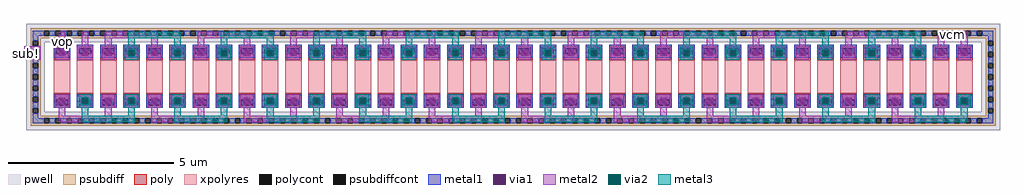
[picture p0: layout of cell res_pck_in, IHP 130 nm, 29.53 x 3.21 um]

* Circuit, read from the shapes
.subckt res_pck_in sub! vcm vom vop
XR1 vop rhigh_LVHKJT_0/R2 xpolyres w=0.5u l=1u
XR2 vom rhigh_LVHKJT_1/R2 xpolyres w=0.5u l=1u
XR3 rhigh_LVHKJT_2/R1 rhigh_LVHKJT_0/R2 xpolyres w=0.5u l=1u
XR4 rhigh_LVHKJT_3/R1 rhigh_LVHKJT_1/R2 xpolyres w=0.5u l=1u
XR5 rhigh_LVHKJT_2/R1 rhigh_LVHKJT_5/R2 xpolyres w=0.5u l=1u
XR6 rhigh_LVHKJT_3/R1 rhigh_LVHKJT_4/R2 xpolyres w=0.5u l=1u
XR7 rhigh_LVHKJT_11/R1 rhigh_LVHKJT_5/R2 xpolyres w=0.5u l=1u
XR8 rhigh_LVHKJT_10/R1 rhigh_LVHKJT_4/R2 xpolyres w=0.5u l=1u
XR9 rhigh_LVHKJT_11/R1 rhigh_LVHKJT_11/R2 xpolyres w=0.5u l=1u
XR10 rhigh_LVHKJT_10/R1 rhigh_LVHKJT_10/R2 xpolyres w=0.5u l=1u
XR11 rhigh_LVHKJT_13/R1 rhigh_LVHKJT_11/R2 xpolyres w=0.5u l=1u
XR12 rhigh_LVHKJT_12/R1 rhigh_LVHKJT_10/R2 xpolyres w=0.5u l=1u
XR13 rhigh_LVHKJT_13/R1 rhigh_LVHKJT_13/R2 xpolyres w=0.5u l=1u
XR14 rhigh_LVHKJT_12/R1 rhigh_LVHKJT_12/R2 xpolyres w=0.5u l=1u
XR15 rhigh_LVHKJT_21/R1 rhigh_LVHKJT_13/R2 xpolyres w=0.5u l=1u
XR16 rhigh_LVHKJT_20/R1 rhigh_LVHKJT_12/R2 xpolyres w=0.5u l=1u
XR17 rhigh_LVHKJT_21/R1 rhigh_LVHKJT_19/R2 xpolyres w=0.5u l=1u
XR18 rhigh_LVHKJT_20/R1 rhigh_LVHKJT_18/R2 xpolyres w=0.5u l=1u
XR19 rhigh_LVHKJT_17/R1 rhigh_LVHKJT_19/R2 xpolyres w=0.5u l=1u
XR20 rhigh_LVHKJT_16/R1 rhigh_LVHKJT_18/R2 xpolyres w=0.5u l=1u
XR21 rhigh_LVHKJT_17/R1 rhigh_LVHKJT_15/R2 xpolyres w=0.5u l=1u
XR22 rhigh_LVHKJT_16/R1 rhigh_LVHKJT_14/R2 xpolyres w=0.5u l=1u
XR23 rhigh_LVHKJT_15/R1 rhigh_LVHKJT_15/R2 xpolyres w=0.5u l=1u
XR24 rhigh_LVHKJT_14/R1 rhigh_LVHKJT_14/R2 xpolyres w=0.5u l=1u
XR25 rhigh_LVHKJT_15/R1 rhigh_LVHKJT_32/R2 xpolyres w=0.5u l=1u
XR26 rhigh_LVHKJT_14/R1 rhigh_LVHKJT_33/R2 xpolyres w=0.5u l=1u
XR27 rhigh_LVHKJT_30/R1 rhigh_LVHKJT_32/R2 xpolyres w=0.5u l=1u
XR28 rhigh_LVHKJT_31/R1 rhigh_LVHKJT_33/R2 xpolyres w=0.5u l=1u
XR29 rhigh_LVHKJT_30/R1 rhigh_LVHKJT_28/R2 xpolyres w=0.5u l=1u
XR30 rhigh_LVHKJT_31/R1 rhigh_LVHKJT_29/R2 xpolyres w=0.5u l=1u
XR31 rhigh_LVHKJT_26/R1 rhigh_LVHKJT_28/R2 xpolyres w=0.5u l=1u
XR32 rhigh_LVHKJT_27/R1 rhigh_LVHKJT_29/R2 xpolyres w=0.5u l=1u
XR33 rhigh_LVHKJT_26/R1 rhigh_LVHKJT_24/R2 xpolyres w=0.5u l=1u
XR34 rhigh_LVHKJT_27/R1 rhigh_LVHKJT_25/R2 xpolyres w=0.5u l=1u
XR35 rhigh_LVHKJT_24/R1 rhigh_LVHKJT_24/R2 xpolyres w=0.5u l=1u
XR36 rhigh_LVHKJT_25/R1 rhigh_LVHKJT_25/R2 xpolyres w=0.5u l=1u
XR37 rhigh_LVHKJT_24/R1 rhigh_LVHKJT_36/R2 xpolyres w=0.5u l=1u
XR38 rhigh_LVHKJT_25/R1 rhigh_LVHKJT_37/R2 xpolyres w=0.5u l=1u
XR39 vcm rhigh_LVHKJT_36/R2 xpolyres w=0.5u l=1u
XR40 vcm rhigh_LVHKJT_37/R2 xpolyres w=0.5u l=1u
.ends

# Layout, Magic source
magic
tech ihp-sg13g2
magscale 1 2
<< pwell >>
rect -166 394 5726 506
rect -166 -24 -54 394
rect 5614 -24 5726 394
rect -166 -136 5726 -24
<< psubdiff >>
rect -140 466 5700 480
rect -140 434 -58 466
rect -26 434 10 466
rect 42 434 78 466
rect 110 434 146 466
rect 178 434 214 466
rect 246 434 282 466
rect 314 434 350 466
rect 382 434 418 466
rect 450 434 486 466
rect 518 434 554 466
rect 586 434 622 466
rect 654 434 690 466
rect 722 434 758 466
rect 790 434 826 466
rect 858 434 894 466
rect 926 434 962 466
rect 994 434 1030 466
rect 1062 434 1098 466
rect 1130 434 1166 466
rect 1198 434 1234 466
rect 1266 434 1302 466
rect 1334 434 1370 466
rect 1402 434 1438 466
rect 1470 434 1506 466
rect 1538 434 1574 466
rect 1606 434 1642 466
rect 1674 434 1710 466
rect 1742 434 1778 466
rect 1810 434 1846 466
rect 1878 434 1914 466
rect 1946 434 1982 466
rect 2014 434 2050 466
rect 2082 434 2118 466
rect 2150 434 2186 466
rect 2218 434 2254 466
rect 2286 434 2322 466
rect 2354 434 2390 466
rect 2422 434 2458 466
rect 2490 434 2526 466
rect 2558 434 2594 466
rect 2626 434 2662 466
rect 2694 434 2730 466
rect 2762 434 2798 466
rect 2830 434 2866 466
rect 2898 434 2934 466
rect 2966 434 3002 466
rect 3034 434 3070 466
rect 3102 434 3138 466
rect 3170 434 3206 466
rect 3238 434 3274 466
rect 3306 434 3342 466
rect 3374 434 3410 466
rect 3442 434 3478 466
rect 3510 434 3546 466
rect 3578 434 3614 466
rect 3646 434 3682 466
rect 3714 434 3750 466
rect 3782 434 3818 466
rect 3850 434 3886 466
rect 3918 434 3954 466
rect 3986 434 4022 466
rect 4054 434 4090 466
rect 4122 434 4158 466
rect 4190 434 4226 466
rect 4258 434 4294 466
rect 4326 434 4362 466
rect 4394 434 4430 466
rect 4462 434 4498 466
rect 4530 434 4566 466
rect 4598 434 4634 466
rect 4666 434 4702 466
rect 4734 434 4770 466
rect 4802 434 4838 466
rect 4870 434 4906 466
rect 4938 434 4974 466
rect 5006 434 5042 466
rect 5074 434 5110 466
rect 5142 434 5178 466
rect 5210 434 5246 466
rect 5278 434 5314 466
rect 5346 434 5382 466
rect 5414 434 5450 466
rect 5482 434 5518 466
rect 5550 434 5586 466
rect 5618 434 5700 466
rect -140 420 5700 434
rect -140 405 -80 420
rect -140 373 -126 405
rect -94 373 -80 405
rect -140 337 -80 373
rect -140 305 -126 337
rect -94 305 -80 337
rect -140 269 -80 305
rect -140 237 -126 269
rect -94 237 -80 269
rect -140 201 -80 237
rect -140 169 -126 201
rect -94 169 -80 201
rect -140 133 -80 169
rect -140 101 -126 133
rect -94 101 -80 133
rect -140 65 -80 101
rect -140 33 -126 65
rect -94 33 -80 65
rect -140 -3 -80 33
rect -140 -35 -126 -3
rect -94 -35 -80 -3
rect -140 -50 -80 -35
rect 5640 405 5700 420
rect 5640 373 5654 405
rect 5686 373 5700 405
rect 5640 337 5700 373
rect 5640 305 5654 337
rect 5686 305 5700 337
rect 5640 269 5700 305
rect 5640 237 5654 269
rect 5686 237 5700 269
rect 5640 201 5700 237
rect 5640 169 5654 201
rect 5686 169 5700 201
rect 5640 133 5700 169
rect 5640 101 5654 133
rect 5686 101 5700 133
rect 5640 65 5700 101
rect 5640 33 5654 65
rect 5686 33 5700 65
rect 5640 -3 5700 33
rect 5640 -35 5654 -3
rect 5686 -35 5700 -3
rect 5640 -50 5700 -35
rect -140 -64 5700 -50
rect -140 -96 -58 -64
rect -26 -96 10 -64
rect 42 -96 78 -64
rect 110 -96 146 -64
rect 178 -96 214 -64
rect 246 -96 282 -64
rect 314 -96 350 -64
rect 382 -96 418 -64
rect 450 -96 486 -64
rect 518 -96 554 -64
rect 586 -96 622 -64
rect 654 -96 690 -64
rect 722 -96 758 -64
rect 790 -96 826 -64
rect 858 -96 894 -64
rect 926 -96 962 -64
rect 994 -96 1030 -64
rect 1062 -96 1098 -64
rect 1130 -96 1166 -64
rect 1198 -96 1234 -64
rect 1266 -96 1302 -64
rect 1334 -96 1370 -64
rect 1402 -96 1438 -64
rect 1470 -96 1506 -64
rect 1538 -96 1574 -64
rect 1606 -96 1642 -64
rect 1674 -96 1710 -64
rect 1742 -96 1778 -64
rect 1810 -96 1846 -64
rect 1878 -96 1914 -64
rect 1946 -96 1982 -64
rect 2014 -96 2050 -64
rect 2082 -96 2118 -64
rect 2150 -96 2186 -64
rect 2218 -96 2254 -64
rect 2286 -96 2322 -64
rect 2354 -96 2390 -64
rect 2422 -96 2458 -64
rect 2490 -96 2526 -64
rect 2558 -96 2594 -64
rect 2626 -96 2662 -64
rect 2694 -96 2730 -64
rect 2762 -96 2798 -64
rect 2830 -96 2866 -64
rect 2898 -96 2934 -64
rect 2966 -96 3002 -64
rect 3034 -96 3070 -64
rect 3102 -96 3138 -64
rect 3170 -96 3206 -64
rect 3238 -96 3274 -64
rect 3306 -96 3342 -64
rect 3374 -96 3410 -64
rect 3442 -96 3478 -64
rect 3510 -96 3546 -64
rect 3578 -96 3614 -64
rect 3646 -96 3682 -64
rect 3714 -96 3750 -64
rect 3782 -96 3818 -64
rect 3850 -96 3886 -64
rect 3918 -96 3954 -64
rect 3986 -96 4022 -64
rect 4054 -96 4090 -64
rect 4122 -96 4158 -64
rect 4190 -96 4226 -64
rect 4258 -96 4294 -64
rect 4326 -96 4362 -64
rect 4394 -96 4430 -64
rect 4462 -96 4498 -64
rect 4530 -96 4566 -64
rect 4598 -96 4634 -64
rect 4666 -96 4702 -64
rect 4734 -96 4770 -64
rect 4802 -96 4838 -64
rect 4870 -96 4906 -64
rect 4938 -96 4974 -64
rect 5006 -96 5042 -64
rect 5074 -96 5110 -64
rect 5142 -96 5178 -64
rect 5210 -96 5246 -64
rect 5278 -96 5314 -64
rect 5346 -96 5382 -64
rect 5414 -96 5450 -64
rect 5482 -96 5518 -64
rect 5550 -96 5586 -64
rect 5618 -96 5700 -64
rect -140 -110 5700 -96
<< psubdiffcont >>
rect -58 434 -26 466
rect 10 434 42 466
rect 78 434 110 466
rect 146 434 178 466
rect 214 434 246 466
rect 282 434 314 466
rect 350 434 382 466
rect 418 434 450 466
rect 486 434 518 466
rect 554 434 586 466
rect 622 434 654 466
rect 690 434 722 466
rect 758 434 790 466
rect 826 434 858 466
rect 894 434 926 466
rect 962 434 994 466
rect 1030 434 1062 466
rect 1098 434 1130 466
rect 1166 434 1198 466
rect 1234 434 1266 466
rect 1302 434 1334 466
rect 1370 434 1402 466
rect 1438 434 1470 466
rect 1506 434 1538 466
rect 1574 434 1606 466
rect 1642 434 1674 466
rect 1710 434 1742 466
rect 1778 434 1810 466
rect 1846 434 1878 466
rect 1914 434 1946 466
rect 1982 434 2014 466
rect 2050 434 2082 466
rect 2118 434 2150 466
rect 2186 434 2218 466
rect 2254 434 2286 466
rect 2322 434 2354 466
rect 2390 434 2422 466
rect 2458 434 2490 466
rect 2526 434 2558 466
rect 2594 434 2626 466
rect 2662 434 2694 466
rect 2730 434 2762 466
rect 2798 434 2830 466
rect 2866 434 2898 466
rect 2934 434 2966 466
rect 3002 434 3034 466
rect 3070 434 3102 466
rect 3138 434 3170 466
rect 3206 434 3238 466
rect 3274 434 3306 466
rect 3342 434 3374 466
rect 3410 434 3442 466
rect 3478 434 3510 466
rect 3546 434 3578 466
rect 3614 434 3646 466
rect 3682 434 3714 466
rect 3750 434 3782 466
rect 3818 434 3850 466
rect 3886 434 3918 466
rect 3954 434 3986 466
rect 4022 434 4054 466
rect 4090 434 4122 466
rect 4158 434 4190 466
rect 4226 434 4258 466
rect 4294 434 4326 466
rect 4362 434 4394 466
rect 4430 434 4462 466
rect 4498 434 4530 466
rect 4566 434 4598 466
rect 4634 434 4666 466
rect 4702 434 4734 466
rect 4770 434 4802 466
rect 4838 434 4870 466
rect 4906 434 4938 466
rect 4974 434 5006 466
rect 5042 434 5074 466
rect 5110 434 5142 466
rect 5178 434 5210 466
rect 5246 434 5278 466
rect 5314 434 5346 466
rect 5382 434 5414 466
rect 5450 434 5482 466
rect 5518 434 5550 466
rect 5586 434 5618 466
rect -126 373 -94 405
rect -126 305 -94 337
rect -126 237 -94 269
rect -126 169 -94 201
rect -126 101 -94 133
rect -126 33 -94 65
rect -126 -35 -94 -3
rect 5654 373 5686 405
rect 5654 305 5686 337
rect 5654 237 5686 269
rect 5654 169 5686 201
rect 5654 101 5686 133
rect 5654 33 5686 65
rect 5654 -35 5686 -3
rect -58 -96 -26 -64
rect 10 -96 42 -64
rect 78 -96 110 -64
rect 146 -96 178 -64
rect 214 -96 246 -64
rect 282 -96 314 -64
rect 350 -96 382 -64
rect 418 -96 450 -64
rect 486 -96 518 -64
rect 554 -96 586 -64
rect 622 -96 654 -64
rect 690 -96 722 -64
rect 758 -96 790 -64
rect 826 -96 858 -64
rect 894 -96 926 -64
rect 962 -96 994 -64
rect 1030 -96 1062 -64
rect 1098 -96 1130 -64
rect 1166 -96 1198 -64
rect 1234 -96 1266 -64
rect 1302 -96 1334 -64
rect 1370 -96 1402 -64
rect 1438 -96 1470 -64
rect 1506 -96 1538 -64
rect 1574 -96 1606 -64
rect 1642 -96 1674 -64
rect 1710 -96 1742 -64
rect 1778 -96 1810 -64
rect 1846 -96 1878 -64
rect 1914 -96 1946 -64
rect 1982 -96 2014 -64
rect 2050 -96 2082 -64
rect 2118 -96 2150 -64
rect 2186 -96 2218 -64
rect 2254 -96 2286 -64
rect 2322 -96 2354 -64
rect 2390 -96 2422 -64
rect 2458 -96 2490 -64
rect 2526 -96 2558 -64
rect 2594 -96 2626 -64
rect 2662 -96 2694 -64
rect 2730 -96 2762 -64
rect 2798 -96 2830 -64
rect 2866 -96 2898 -64
rect 2934 -96 2966 -64
rect 3002 -96 3034 -64
rect 3070 -96 3102 -64
rect 3138 -96 3170 -64
rect 3206 -96 3238 -64
rect 3274 -96 3306 -64
rect 3342 -96 3374 -64
rect 3410 -96 3442 -64
rect 3478 -96 3510 -64
rect 3546 -96 3578 -64
rect 3614 -96 3646 -64
rect 3682 -96 3714 -64
rect 3750 -96 3782 -64
rect 3818 -96 3850 -64
rect 3886 -96 3918 -64
rect 3954 -96 3986 -64
rect 4022 -96 4054 -64
rect 4090 -96 4122 -64
rect 4158 -96 4190 -64
rect 4226 -96 4258 -64
rect 4294 -96 4326 -64
rect 4362 -96 4394 -64
rect 4430 -96 4462 -64
rect 4498 -96 4530 -64
rect 4566 -96 4598 -64
rect 4634 -96 4666 -64
rect 4702 -96 4734 -64
rect 4770 -96 4802 -64
rect 4838 -96 4870 -64
rect 4906 -96 4938 -64
rect 4974 -96 5006 -64
rect 5042 -96 5074 -64
rect 5110 -96 5142 -64
rect 5178 -96 5210 -64
rect 5246 -96 5278 -64
rect 5314 -96 5346 -64
rect 5382 -96 5414 -64
rect 5450 -96 5482 -64
rect 5518 -96 5550 -64
rect 5586 -96 5618 -64
<< metal1 >>
rect -126 434 -58 466
rect -26 434 10 466
rect 42 434 78 466
rect 110 434 146 466
rect 178 434 214 466
rect 246 434 282 466
rect 314 434 350 466
rect 382 434 418 466
rect 450 434 486 466
rect 518 434 554 466
rect 586 434 622 466
rect 654 434 690 466
rect 722 434 758 466
rect 790 434 826 466
rect 858 434 894 466
rect 926 434 962 466
rect 994 434 1030 466
rect 1062 434 1098 466
rect 1130 434 1166 466
rect 1198 434 1234 466
rect 1266 434 1302 466
rect 1334 434 1370 466
rect 1402 434 1438 466
rect 1470 434 1506 466
rect 1538 434 1574 466
rect 1606 434 1642 466
rect 1674 434 1710 466
rect 1742 434 1778 466
rect 1810 434 1846 466
rect 1878 434 1914 466
rect 1946 434 1982 466
rect 2014 434 2050 466
rect 2082 434 2118 466
rect 2150 434 2186 466
rect 2218 434 2254 466
rect 2286 434 2322 466
rect 2354 434 2390 466
rect 2422 434 2458 466
rect 2490 434 2526 466
rect 2558 434 2594 466
rect 2626 434 2662 466
rect 2694 434 2730 466
rect 2762 434 2798 466
rect 2830 434 2866 466
rect 2898 434 2934 466
rect 2966 434 3002 466
rect 3034 434 3070 466
rect 3102 434 3138 466
rect 3170 434 3206 466
rect 3238 434 3274 466
rect 3306 434 3342 466
rect 3374 434 3410 466
rect 3442 434 3478 466
rect 3510 434 3546 466
rect 3578 434 3614 466
rect 3646 434 3682 466
rect 3714 434 3750 466
rect 3782 434 3818 466
rect 3850 434 3886 466
rect 3918 434 3954 466
rect 3986 434 4022 466
rect 4054 434 4090 466
rect 4122 434 4158 466
rect 4190 434 4226 466
rect 4258 434 4294 466
rect 4326 434 4362 466
rect 4394 434 4430 466
rect 4462 434 4498 466
rect 4530 434 4566 466
rect 4598 434 4634 466
rect 4666 434 4702 466
rect 4734 434 4770 466
rect 4802 434 4838 466
rect 4870 434 4906 466
rect 4938 434 4974 466
rect 5006 434 5042 466
rect 5074 434 5110 466
rect 5142 434 5178 466
rect 5210 434 5246 466
rect 5278 434 5314 466
rect 5346 434 5382 466
rect 5414 434 5450 466
rect 5482 434 5518 466
rect 5550 434 5586 466
rect 5618 434 5686 466
rect -126 405 -94 434
rect 5654 405 5686 434
rect -126 370 -94 373
rect -140 350 -80 370
rect -140 310 -130 350
rect -90 310 -80 350
rect -140 305 -126 310
rect -94 305 -80 310
rect -140 290 -80 305
rect 0 300 100 380
rect 140 300 240 380
rect 280 300 380 380
rect 420 300 520 380
rect 560 300 660 380
rect 700 300 800 380
rect 840 300 940 380
rect 980 300 1080 380
rect 1120 300 1220 380
rect 1260 300 1360 380
rect 1400 300 1500 380
rect 1540 300 1640 380
rect 1680 300 1780 380
rect 1820 300 1920 380
rect 1960 300 2060 380
rect 2100 300 2200 380
rect 2240 300 2340 380
rect 2380 300 2480 380
rect 2520 300 2620 380
rect 2660 300 2760 380
rect 2800 300 2900 380
rect 2940 300 3040 380
rect 3080 300 3180 380
rect 3220 300 3320 380
rect 3360 300 3460 380
rect 3500 300 3600 380
rect 3640 300 3740 380
rect 3780 300 3880 380
rect 3920 300 4020 380
rect 4060 300 4160 380
rect 4200 300 4300 380
rect 4340 300 4440 380
rect 4480 300 4580 380
rect 4620 300 4720 380
rect 4760 300 4860 380
rect 4900 300 5000 380
rect 5040 300 5140 380
rect 5180 300 5280 380
rect 5320 300 5420 380
rect 5460 300 5560 380
rect 5654 337 5686 373
rect -126 269 -94 290
rect -126 201 -94 237
rect -126 133 -94 169
rect -126 65 -94 101
rect 5654 269 5686 305
rect 5654 201 5686 237
rect 5654 133 5686 169
rect -126 -3 -94 33
rect 0 0 100 80
rect 140 0 240 80
rect 280 0 380 80
rect 420 0 520 80
rect 560 0 660 80
rect 700 0 800 80
rect 840 0 940 80
rect 980 0 1080 80
rect 1120 0 1220 80
rect 1260 0 1360 80
rect 1400 0 1500 80
rect 1540 0 1640 80
rect 1680 0 1780 80
rect 1820 0 1920 80
rect 1960 0 2060 80
rect 2100 0 2200 80
rect 2240 0 2340 80
rect 2380 0 2480 80
rect 2520 0 2620 80
rect 2660 0 2760 80
rect 2800 0 2900 80
rect 2940 0 3040 80
rect 3080 0 3180 80
rect 3220 0 3320 80
rect 3360 0 3460 80
rect 3500 0 3600 80
rect 3640 0 3740 80
rect 3780 0 3880 80
rect 3920 0 4020 80
rect 4060 0 4160 80
rect 4200 0 4300 80
rect 4340 0 4440 80
rect 4480 0 4580 80
rect 4620 0 4720 80
rect 4760 0 4860 80
rect 4900 0 5000 80
rect 5040 0 5140 80
rect 5180 0 5280 80
rect 5320 0 5420 80
rect 5460 0 5560 80
rect 5654 65 5686 101
rect -126 -64 -94 -35
rect 5654 -3 5686 33
rect 5654 -64 5686 -35
rect -126 -96 -58 -64
rect -26 -96 10 -64
rect 42 -96 78 -64
rect 110 -96 146 -64
rect 178 -96 214 -64
rect 246 -96 282 -64
rect 314 -96 350 -64
rect 382 -96 418 -64
rect 450 -96 486 -64
rect 518 -96 554 -64
rect 586 -96 622 -64
rect 654 -96 690 -64
rect 722 -96 758 -64
rect 790 -96 826 -64
rect 858 -96 894 -64
rect 926 -96 962 -64
rect 994 -96 1030 -64
rect 1062 -96 1098 -64
rect 1130 -96 1166 -64
rect 1198 -96 1234 -64
rect 1266 -96 1302 -64
rect 1334 -96 1370 -64
rect 1402 -96 1438 -64
rect 1470 -96 1506 -64
rect 1538 -96 1574 -64
rect 1606 -96 1642 -64
rect 1674 -96 1710 -64
rect 1742 -96 1778 -64
rect 1810 -96 1846 -64
rect 1878 -96 1914 -64
rect 1946 -96 1982 -64
rect 2014 -96 2050 -64
rect 2082 -96 2118 -64
rect 2150 -96 2186 -64
rect 2218 -96 2254 -64
rect 2286 -96 2322 -64
rect 2354 -96 2390 -64
rect 2422 -96 2458 -64
rect 2490 -96 2526 -64
rect 2558 -96 2594 -64
rect 2626 -96 2662 -64
rect 2694 -96 2730 -64
rect 2762 -96 2798 -64
rect 2830 -96 2866 -64
rect 2898 -96 2934 -64
rect 2966 -96 3002 -64
rect 3034 -96 3070 -64
rect 3102 -96 3138 -64
rect 3170 -96 3206 -64
rect 3238 -96 3274 -64
rect 3306 -96 3342 -64
rect 3374 -96 3410 -64
rect 3442 -96 3478 -64
rect 3510 -96 3546 -64
rect 3578 -96 3614 -64
rect 3646 -96 3682 -64
rect 3714 -96 3750 -64
rect 3782 -96 3818 -64
rect 3850 -96 3886 -64
rect 3918 -96 3954 -64
rect 3986 -96 4022 -64
rect 4054 -96 4090 -64
rect 4122 -96 4158 -64
rect 4190 -96 4226 -64
rect 4258 -96 4294 -64
rect 4326 -96 4362 -64
rect 4394 -96 4430 -64
rect 4462 -96 4498 -64
rect 4530 -96 4566 -64
rect 4598 -96 4634 -64
rect 4666 -96 4702 -64
rect 4734 -96 4770 -64
rect 4802 -96 4838 -64
rect 4870 -96 4906 -64
rect 4938 -96 4974 -64
rect 5006 -96 5042 -64
rect 5074 -96 5110 -64
rect 5142 -96 5178 -64
rect 5210 -96 5246 -64
rect 5278 -96 5314 -64
rect 5346 -96 5382 -64
rect 5414 -96 5450 -64
rect 5482 -96 5518 -64
rect 5550 -96 5586 -64
rect 5618 -96 5686 -64
<< via1 >>
rect -130 337 -90 350
rect -130 310 -126 337
rect -126 310 -94 337
rect -94 310 -90 337
<< metal2 >>
rect 30 370 70 460
rect 170 370 210 460
rect 310 420 630 460
rect 310 370 350 420
rect 590 370 630 420
rect 870 420 1190 460
rect 870 370 910 420
rect 1150 370 1190 420
rect 1430 420 1750 460
rect 1430 370 1470 420
rect 1710 370 1750 420
rect 1990 420 2310 460
rect 1990 370 2030 420
rect 2270 370 2310 420
rect 2550 420 2870 460
rect 2550 370 2590 420
rect 2830 370 2870 420
rect 3110 420 3430 460
rect 3110 370 3150 420
rect 3390 370 3430 420
rect 3670 420 3990 460
rect 3670 370 3710 420
rect 3950 370 3990 420
rect 4230 420 4550 460
rect 4230 370 4270 420
rect 4510 370 4550 420
rect 4790 420 5110 460
rect 4790 370 4830 420
rect 5070 370 5110 420
rect 5350 420 5530 460
rect 5350 370 5390 420
rect 5490 370 5530 420
rect -180 350 -80 370
rect -180 310 -130 350
rect -90 310 -80 350
rect -180 290 -80 310
rect 10 290 90 370
rect 140 290 240 370
rect 290 290 370 370
rect 430 350 510 370
rect 430 310 450 350
rect 490 310 510 350
rect 430 290 510 310
rect 570 290 650 370
rect 710 350 790 370
rect 710 310 730 350
rect 770 310 790 350
rect 710 290 790 310
rect 850 290 930 370
rect 990 350 1070 370
rect 990 310 1010 350
rect 1050 310 1070 350
rect 990 290 1070 310
rect 1130 290 1210 370
rect 1270 350 1350 370
rect 1270 310 1290 350
rect 1330 310 1350 350
rect 1270 290 1350 310
rect 1410 290 1490 370
rect 1550 350 1630 370
rect 1550 310 1570 350
rect 1610 310 1630 350
rect 1550 290 1630 310
rect 1690 290 1770 370
rect 1830 350 1910 370
rect 1830 310 1850 350
rect 1890 310 1910 350
rect 1830 290 1910 310
rect 1970 290 2050 370
rect 2110 350 2190 370
rect 2110 310 2130 350
rect 2170 310 2190 350
rect 2110 290 2190 310
rect 2250 290 2330 370
rect 2390 350 2470 370
rect 2390 310 2410 350
rect 2450 310 2470 350
rect 2390 290 2470 310
rect 2530 290 2610 370
rect 2670 350 2750 370
rect 2670 310 2690 350
rect 2730 310 2750 350
rect 2670 290 2750 310
rect 2810 290 2890 370
rect 2950 350 3030 370
rect 2950 310 2970 350
rect 3010 310 3030 350
rect 2950 290 3030 310
rect 3090 290 3170 370
rect 3230 350 3310 370
rect 3230 310 3250 350
rect 3290 310 3310 350
rect 3230 290 3310 310
rect 3370 290 3450 370
rect 3510 350 3590 370
rect 3510 310 3530 350
rect 3570 310 3590 350
rect 3510 290 3590 310
rect 3650 290 3730 370
rect 3790 350 3870 370
rect 3790 310 3810 350
rect 3850 310 3870 350
rect 3790 290 3870 310
rect 3930 290 4010 370
rect 4070 350 4150 370
rect 4070 310 4090 350
rect 4130 310 4150 350
rect 4070 290 4150 310
rect 4210 290 4290 370
rect 4350 350 4430 370
rect 4350 310 4370 350
rect 4410 310 4430 350
rect 4350 290 4430 310
rect 4490 290 4570 370
rect 4630 350 4710 370
rect 4630 310 4650 350
rect 4690 310 4710 350
rect 4630 290 4710 310
rect 4770 290 4850 370
rect 4910 350 4990 370
rect 4910 310 4930 350
rect 4970 310 4990 350
rect 4910 290 4990 310
rect 5050 290 5130 370
rect 5190 350 5270 370
rect 5190 310 5210 350
rect 5250 310 5270 350
rect 5190 290 5270 310
rect 5330 290 5410 370
rect 5470 290 5550 370
rect 10 0 90 80
rect 150 60 230 80
rect 150 20 170 60
rect 210 20 230 60
rect 150 0 230 20
rect 290 0 370 80
rect 430 60 510 80
rect 430 20 450 60
rect 490 20 510 60
rect 430 0 510 20
rect 570 0 650 80
rect 710 60 790 80
rect 710 20 730 60
rect 770 20 790 60
rect 710 0 790 20
rect 850 0 930 80
rect 990 60 1070 80
rect 990 20 1010 60
rect 1050 20 1070 60
rect 990 0 1070 20
rect 1130 0 1210 80
rect 1270 60 1350 80
rect 1270 20 1290 60
rect 1330 20 1350 60
rect 1270 0 1350 20
rect 1410 0 1490 80
rect 1550 60 1630 80
rect 1550 20 1570 60
rect 1610 20 1630 60
rect 1550 0 1630 20
rect 1690 0 1770 80
rect 1830 60 1910 80
rect 1830 20 1850 60
rect 1890 20 1910 60
rect 1830 0 1910 20
rect 1970 0 2050 80
rect 2110 60 2190 80
rect 2110 20 2130 60
rect 2170 20 2190 60
rect 2110 0 2190 20
rect 2250 0 2330 80
rect 2390 60 2470 80
rect 2390 20 2410 60
rect 2450 20 2470 60
rect 2390 0 2470 20
rect 2530 0 2610 80
rect 2670 60 2750 80
rect 2670 20 2690 60
rect 2730 20 2750 60
rect 2670 0 2750 20
rect 2810 0 2890 80
rect 2950 60 3030 80
rect 2950 20 2970 60
rect 3010 20 3030 60
rect 2950 0 3030 20
rect 3090 0 3170 80
rect 3230 60 3310 80
rect 3230 20 3250 60
rect 3290 20 3310 60
rect 3230 0 3310 20
rect 3370 0 3450 80
rect 3510 60 3590 80
rect 3510 20 3530 60
rect 3570 20 3590 60
rect 3510 0 3590 20
rect 3650 0 3730 80
rect 3790 60 3870 80
rect 3790 20 3810 60
rect 3850 20 3870 60
rect 3790 0 3870 20
rect 3930 0 4010 80
rect 4070 60 4150 80
rect 4070 20 4090 60
rect 4130 20 4150 60
rect 4070 0 4150 20
rect 4210 0 4290 80
rect 4350 60 4430 80
rect 4350 20 4370 60
rect 4410 20 4430 60
rect 4350 0 4430 20
rect 4490 0 4570 80
rect 4630 60 4710 80
rect 4630 20 4650 60
rect 4690 20 4710 60
rect 4630 0 4710 20
rect 4770 0 4850 80
rect 4910 60 4990 80
rect 4910 20 4930 60
rect 4970 20 4990 60
rect 4910 0 4990 20
rect 5050 0 5130 80
rect 5190 60 5270 80
rect 5190 20 5210 60
rect 5250 20 5270 60
rect 5190 0 5270 20
rect 5330 0 5410 80
rect 5470 60 5550 80
rect 5470 20 5490 60
rect 5530 20 5550 60
rect 5470 0 5550 20
rect 30 -50 70 0
rect 310 -50 350 0
rect 30 -90 350 -50
rect 590 -50 630 0
rect 870 -50 910 0
rect 590 -90 910 -50
rect 1150 -50 1190 0
rect 1430 -50 1470 0
rect 1150 -90 1470 -50
rect 1710 -50 1750 0
rect 1990 -50 2030 0
rect 1710 -90 2030 -50
rect 2270 -50 2310 0
rect 2550 -50 2590 0
rect 2270 -90 2590 -50
rect 2830 -50 2870 0
rect 3110 -50 3150 0
rect 2830 -90 3150 -50
rect 3390 -50 3430 0
rect 3670 -50 3710 0
rect 3390 -90 3710 -50
rect 3950 -50 3990 0
rect 4230 -50 4270 0
rect 3950 -90 4270 -50
rect 4510 -50 4550 0
rect 4790 -50 4830 0
rect 4510 -90 4830 -50
rect 5070 -50 5110 0
rect 5350 -50 5390 0
rect 5070 -90 5390 -50
<< via2 >>
rect 450 310 490 350
rect 730 310 770 350
rect 1010 310 1050 350
rect 1290 310 1330 350
rect 1570 310 1610 350
rect 1850 310 1890 350
rect 2130 310 2170 350
rect 2410 310 2450 350
rect 2690 310 2730 350
rect 2970 310 3010 350
rect 3250 310 3290 350
rect 3530 310 3570 350
rect 3810 310 3850 350
rect 4090 310 4130 350
rect 4370 310 4410 350
rect 4650 310 4690 350
rect 4930 310 4970 350
rect 5210 310 5250 350
rect 170 20 210 60
rect 450 20 490 60
rect 730 20 770 60
rect 1010 20 1050 60
rect 1290 20 1330 60
rect 1570 20 1610 60
rect 1850 20 1890 60
rect 2130 20 2170 60
rect 2410 20 2450 60
rect 2690 20 2730 60
rect 2970 20 3010 60
rect 3250 20 3290 60
rect 3530 20 3570 60
rect 3810 20 3850 60
rect 4090 20 4130 60
rect 4370 20 4410 60
rect 4650 20 4690 60
rect 4930 20 4970 60
rect 5210 20 5250 60
rect 5490 20 5530 60
<< metal3 >>
rect 450 420 770 460
rect 450 370 490 420
rect 730 370 770 420
rect 1010 420 1330 460
rect 1010 370 1050 420
rect 1290 370 1330 420
rect 1570 420 1890 460
rect 1570 370 1610 420
rect 1850 370 1890 420
rect 2130 420 2450 460
rect 2130 370 2170 420
rect 2410 370 2450 420
rect 2690 420 3010 460
rect 2690 370 2730 420
rect 2970 370 3010 420
rect 3250 420 3570 460
rect 3250 370 3290 420
rect 3530 370 3570 420
rect 3810 420 4130 460
rect 3810 370 3850 420
rect 4090 370 4130 420
rect 4370 420 4690 460
rect 4370 370 4410 420
rect 4650 370 4690 420
rect 4930 420 5250 460
rect 4930 370 4970 420
rect 5210 370 5250 420
rect 430 350 510 370
rect 430 310 450 350
rect 490 310 510 350
rect 430 290 510 310
rect 710 350 790 370
rect 710 310 730 350
rect 770 310 790 350
rect 710 290 790 310
rect 990 350 1070 370
rect 990 310 1010 350
rect 1050 310 1070 350
rect 990 290 1070 310
rect 1270 350 1350 370
rect 1270 310 1290 350
rect 1330 310 1350 350
rect 1270 290 1350 310
rect 1550 350 1630 370
rect 1550 310 1570 350
rect 1610 310 1630 350
rect 1550 290 1630 310
rect 1830 350 1910 370
rect 1830 310 1850 350
rect 1890 310 1910 350
rect 1830 290 1910 310
rect 2110 350 2190 370
rect 2110 310 2130 350
rect 2170 310 2190 350
rect 2110 290 2190 310
rect 2390 350 2470 370
rect 2390 310 2410 350
rect 2450 310 2470 350
rect 2390 290 2470 310
rect 2670 350 2750 370
rect 2670 310 2690 350
rect 2730 310 2750 350
rect 2670 290 2750 310
rect 2950 350 3030 370
rect 2950 310 2970 350
rect 3010 310 3030 350
rect 2950 290 3030 310
rect 3230 350 3310 370
rect 3230 310 3250 350
rect 3290 310 3310 350
rect 3230 290 3310 310
rect 3510 350 3590 370
rect 3510 310 3530 350
rect 3570 310 3590 350
rect 3510 290 3590 310
rect 3790 350 3870 370
rect 3790 310 3810 350
rect 3850 310 3870 350
rect 3790 290 3870 310
rect 4070 350 4150 370
rect 4070 310 4090 350
rect 4130 310 4150 350
rect 4070 290 4150 310
rect 4350 350 4430 370
rect 4350 310 4370 350
rect 4410 310 4430 350
rect 4350 290 4430 310
rect 4630 350 4710 370
rect 4630 310 4650 350
rect 4690 310 4710 350
rect 4630 290 4710 310
rect 4910 350 4990 370
rect 4910 310 4930 350
rect 4970 310 4990 350
rect 4910 290 4990 310
rect 5190 350 5270 370
rect 5190 310 5210 350
rect 5250 310 5270 350
rect 5190 290 5270 310
rect 150 60 230 80
rect 150 20 170 60
rect 210 20 230 60
rect 150 0 230 20
rect 430 60 510 80
rect 430 20 450 60
rect 490 20 510 60
rect 430 0 510 20
rect 710 60 790 80
rect 710 20 730 60
rect 770 20 790 60
rect 710 0 790 20
rect 990 60 1070 80
rect 990 20 1010 60
rect 1050 20 1070 60
rect 990 0 1070 20
rect 1270 60 1350 80
rect 1270 20 1290 60
rect 1330 20 1350 60
rect 1270 0 1350 20
rect 1550 60 1630 80
rect 1550 20 1570 60
rect 1610 20 1630 60
rect 1550 0 1630 20
rect 1830 60 1910 80
rect 1830 20 1850 60
rect 1890 20 1910 60
rect 1830 0 1910 20
rect 2110 60 2190 80
rect 2110 20 2130 60
rect 2170 20 2190 60
rect 2110 0 2190 20
rect 2390 60 2470 80
rect 2390 20 2410 60
rect 2450 20 2470 60
rect 2390 0 2470 20
rect 2670 60 2750 80
rect 2670 20 2690 60
rect 2730 20 2750 60
rect 2670 0 2750 20
rect 2950 60 3030 80
rect 2950 20 2970 60
rect 3010 20 3030 60
rect 2950 0 3030 20
rect 3230 60 3310 80
rect 3230 20 3250 60
rect 3290 20 3310 60
rect 3230 0 3310 20
rect 3510 60 3590 80
rect 3510 20 3530 60
rect 3570 20 3590 60
rect 3510 0 3590 20
rect 3790 60 3870 80
rect 3790 20 3810 60
rect 3850 20 3870 60
rect 3790 0 3870 20
rect 4070 60 4150 80
rect 4070 20 4090 60
rect 4130 20 4150 60
rect 4070 0 4150 20
rect 4350 60 4430 80
rect 4350 20 4370 60
rect 4410 20 4430 60
rect 4350 0 4430 20
rect 4630 60 4710 80
rect 4630 20 4650 60
rect 4690 20 4710 60
rect 4630 0 4710 20
rect 4910 60 4990 80
rect 4910 20 4930 60
rect 4970 20 4990 60
rect 4910 0 4990 20
rect 5190 60 5270 80
rect 5190 20 5210 60
rect 5250 20 5270 60
rect 5190 0 5270 20
rect 5470 60 5550 80
rect 5470 20 5490 60
rect 5530 20 5550 60
rect 5470 0 5550 20
rect 170 -50 210 0
rect 450 -50 490 0
rect 170 -90 490 -50
rect 730 -50 770 0
rect 1010 -50 1050 0
rect 730 -90 1050 -50
rect 1290 -50 1330 0
rect 1570 -50 1610 0
rect 1290 -90 1610 -50
rect 1850 -50 1890 0
rect 2130 -50 2170 0
rect 1850 -90 2170 -50
rect 2410 -50 2450 0
rect 2690 -50 2730 0
rect 2410 -90 2730 -50
rect 2970 -50 3010 0
rect 3250 -50 3290 0
rect 2970 -90 3290 -50
rect 3530 -50 3570 0
rect 3810 -50 3850 0
rect 3530 -90 3850 -50
rect 4090 -50 4130 0
rect 4370 -50 4410 0
rect 4090 -90 4410 -50
rect 4650 -50 4690 0
rect 4930 -50 4970 0
rect 4650 -90 4970 -50
rect 5210 -50 5250 0
rect 5490 -50 5530 0
rect 5210 -90 5530 -50
use rhigh_LVHKJT  rhigh_LVHKJT_0
transform 1 0 50 0 1 186
box -50 -186 50 186
use rhigh_LVHKJT  rhigh_LVHKJT_1
transform 1 0 190 0 1 186
box -50 -186 50 186
use rhigh_LVHKJT  rhigh_LVHKJT_2
transform 1 0 330 0 1 186
box -50 -186 50 186
use rhigh_LVHKJT  rhigh_LVHKJT_3
transform 1 0 470 0 1 186
box -50 -186 50 186
use rhigh_LVHKJT  rhigh_LVHKJT_4
transform 1 0 1030 0 1 186
box -50 -186 50 186
use rhigh_LVHKJT  rhigh_LVHKJT_5
transform 1 0 890 0 1 186
box -50 -186 50 186
use rhigh_LVHKJT  rhigh_LVHKJT_6
transform 1 0 750 0 1 186
box -50 -186 50 186
use rhigh_LVHKJT  rhigh_LVHKJT_7
transform 1 0 610 0 1 186
box -50 -186 50 186
use rhigh_LVHKJT  rhigh_LVHKJT_8
transform 1 0 1590 0 1 186
box -50 -186 50 186
use rhigh_LVHKJT  rhigh_LVHKJT_9
transform 1 0 1450 0 1 186
box -50 -186 50 186
use rhigh_LVHKJT  rhigh_LVHKJT_10
transform 1 0 1310 0 1 186
box -50 -186 50 186
use rhigh_LVHKJT  rhigh_LVHKJT_11
transform 1 0 1170 0 1 186
box -50 -186 50 186
use rhigh_LVHKJT  rhigh_LVHKJT_12
transform 1 0 1870 0 1 186
box -50 -186 50 186
use rhigh_LVHKJT  rhigh_LVHKJT_13
transform 1 0 1730 0 1 186
box -50 -186 50 186
use rhigh_LVHKJT  rhigh_LVHKJT_14
transform 1 0 3270 0 1 186
box -50 -186 50 186
use rhigh_LVHKJT  rhigh_LVHKJT_15
transform 1 0 3130 0 1 186
box -50 -186 50 186
use rhigh_LVHKJT  rhigh_LVHKJT_16
transform 1 0 2990 0 1 186
box -50 -186 50 186
use rhigh_LVHKJT  rhigh_LVHKJT_17
transform 1 0 2850 0 1 186
box -50 -186 50 186
use rhigh_LVHKJT  rhigh_LVHKJT_18
transform 1 0 2710 0 1 186
box -50 -186 50 186
use rhigh_LVHKJT  rhigh_LVHKJT_19
transform 1 0 2570 0 1 186
box -50 -186 50 186
use rhigh_LVHKJT  rhigh_LVHKJT_20
transform 1 0 2430 0 1 186
box -50 -186 50 186
use rhigh_LVHKJT  rhigh_LVHKJT_21
transform 1 0 2290 0 1 186
box -50 -186 50 186
use rhigh_LVHKJT  rhigh_LVHKJT_22
transform 1 0 2150 0 1 186
box -50 -186 50 186
use rhigh_LVHKJT  rhigh_LVHKJT_23
transform 1 0 2010 0 1 186
box -50 -186 50 186
use rhigh_LVHKJT  rhigh_LVHKJT_24
transform 1 0 4810 0 1 186
box -50 -186 50 186
use rhigh_LVHKJT  rhigh_LVHKJT_25
transform 1 0 4950 0 1 186
box -50 -186 50 186
use rhigh_LVHKJT  rhigh_LVHKJT_26
transform 1 0 4530 0 1 186
box -50 -186 50 186
use rhigh_LVHKJT  rhigh_LVHKJT_27
transform 1 0 4670 0 1 186
box -50 -186 50 186
use rhigh_LVHKJT  rhigh_LVHKJT_28
transform 1 0 4250 0 1 186
box -50 -186 50 186
use rhigh_LVHKJT  rhigh_LVHKJT_29
transform 1 0 4390 0 1 186
box -50 -186 50 186
use rhigh_LVHKJT  rhigh_LVHKJT_30
transform 1 0 3970 0 1 186
box -50 -186 50 186
use rhigh_LVHKJT  rhigh_LVHKJT_31
transform 1 0 4110 0 1 186
box -50 -186 50 186
use rhigh_LVHKJT  rhigh_LVHKJT_32
transform 1 0 3690 0 1 186
box -50 -186 50 186
use rhigh_LVHKJT  rhigh_LVHKJT_33
transform 1 0 3830 0 1 186
box -50 -186 50 186
use rhigh_LVHKJT  rhigh_LVHKJT_34
transform 1 0 3410 0 1 186
box -50 -186 50 186
use rhigh_LVHKJT  rhigh_LVHKJT_35
transform 1 0 3550 0 1 186
box -50 -186 50 186
use rhigh_LVHKJT  rhigh_LVHKJT_36
transform 1 0 5090 0 1 186
box -50 -186 50 186
use rhigh_LVHKJT  rhigh_LVHKJT_37
transform 1 0 5230 0 1 186
box -50 -186 50 186
use rhigh_LVHKJT  rhigh_LVHKJT_38
transform 1 0 5370 0 1 186
box -50 -186 50 186
use rhigh_LVHKJT  rhigh_LVHKJT_39
transform 1 0 5510 0 1 186
box -50 -186 50 186
<< labels >>
flabel metal2 s 30 380 70 420 0 FreeSans 2979 0 0 0 vop
flabel metal2 s 170 380 210 420 0 FreeSans 2979 0 0 0 vom
flabel metal2 s 5420 420 5460 460 0 FreeSans 2979 0 0 0 vcm
flabel metal2 s -180 300 -150 360 0 FreeSans 2979 0 0 0 sub!
<< end >>

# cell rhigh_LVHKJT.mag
magic
tech ihp-sg13g2
magscale 1 2
<< poly >>
rect -50 172 50 186
rect -50 140 -36 172
rect 36 140 50 172
rect -50 100 50 140
rect -50 -140 50 -100
rect -50 -172 -36 -140
rect 36 -172 50 -140
rect -50 -186 50 -172
<< polycont >>
rect -36 140 36 172
rect -36 -172 36 -140
<< xpolyres >>
rect -50 -100 50 100
<< metal1 >>
rect -46 172 46 177
rect -46 140 -36 172
rect 36 140 46 172
rect -46 128 -20 140
rect 20 128 46 140
rect -46 119 46 128
rect -46 -128 46 -119
rect -46 -140 -20 -128
rect 20 -140 46 -128
rect -46 -172 -36 -140
rect 36 -172 46 -140
rect -46 -177 46 -172
<< via1 >>
rect -20 140 20 168
rect -20 128 20 140
rect -20 -140 20 -128
rect -20 -168 20 -140
<< metal2 >>
rect -36 168 36 185
rect -36 128 -20 168
rect 20 128 36 168
rect -36 111 36 128
rect -36 -128 36 -111
rect -36 -168 -20 -128
rect 20 -168 36 -128
rect -36 -185 36 -168
<< labels >>
rlabel metal1 s 0 156 0 156 4 R1
rlabel metal1 s 0 -156 0 -156 4 R2
<< end >>
